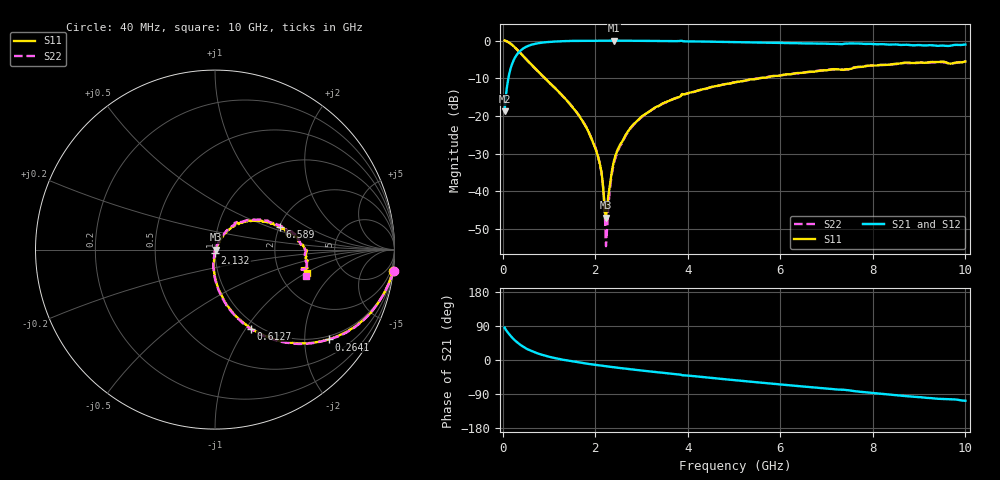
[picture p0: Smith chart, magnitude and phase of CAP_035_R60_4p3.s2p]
! Thu 10/27/2005 10:31:32 AM
! MODELITIHCS, INC.
# Hz S MA R 50
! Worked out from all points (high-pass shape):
!   401 points, 40 MHz to 10 GHz, reference 50 ohm
!   highest |S21| = -0.03 dB at 2.405 GHz (marker M1); lowest = -18.8 dB at 40 MHz (marker M2)
!   |S21| within 3 dB of the highest: 354.1 MHz to end of sweep
!   lowest |S11| = -47.0 dB at 2.231 GHz (marker M3), VSWR 1.01, Z = 50.4 - j0.0731 ohm
!   |S11| at or under -10 dB: 911.9 MHz to 5.547 GHz (4.635 GHz wide, 144 % of centre)
!   |S22| runs from -54.6 to 0.0 dB; largest |S21 - S12| = 0.0058
!   S11 on the Smith chart (normalised r, x): 40 MHz: 0, -17; 264.1 MHz: 0.90, -2.60; 612.7 MHz: 0.92, -1.06; 2.132 GHz: 1.00, -0.04; 6.589 GHz: 2.01, +0.60; 10 GHz: 2.81, -1.03
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4e7  0.9997 -6.8  0.1154 85.7  0.1145 85.9  1.002 -7.0
1.396e8  0.9369 -22.1  0.3597 68.0  0.3596 68.1  0.9357 -22.2
2.641e8  0.8074 -38.3  0.5937 51.5  0.5932 51.7  0.8069 -38.4
4.384e8  0.6267 -54.4  0.7812 35.4  0.7815 35.5  0.6273 -54.8
6.127e8  0.4834 -65.5  0.8772 24.1  0.8762 24.3  0.4832 -66.0
1.0111e9  0.274 -80.8  0.9591 8.3  0.9593 8.4  0.2746 -81.2
1.7083e9  0.08841 -94.6  0.9935 -7.6  0.9933 -7.5  0.08954 -96.0
2.0071e9  0.03644 -94.1  0.9957 -12.9  0.9958 -12.8  0.03719 -97.9
2.1316e9  0.01826 -88.0  0.9965 -14.9  0.9964 -14.8  0.01776 -99.1
2.2063e9  0.005431 -58.1  0.9964 -16.1  0.9969 -16.0  0.005094 -95.5
2.2312e9  0.004469 -9.3  0.9966 -16.5  0.9963 -16.4  0.001869 -42.8
2.281e9  0.00858 35.1  0.9961 -17.3  0.9961 -17.2  0.006212 48.7
2.3308e9  0.01404 50.1  0.9964 -18.0  0.9967 -17.9  0.0127 64.0
2.4055e9  0.02549 56.8  0.9969 -19.2  0.9969 -19.1  0.02393 65.8
2.5051e9  0.03806 60.3  0.9951 -20.8  0.9955 -20.7  0.03645 63.8
2.7541e9  0.06862 62.4  0.9933 -24.3  0.9937 -24.2  0.0669 64.7
3.3766e9  0.1358 55.0  0.9869 -32.8  0.9873 -32.7  0.1358 57.6
5.02e9  0.2799 35.1  0.9524 -53.2  0.9529 -53.1  0.2784 36.7
6.5887e9  0.3828 19.3  0.9158 -71.0  0.9165 -70.9  0.3815 20.6
6.6883e9  0.3852 19.0  0.9159 -71.9  0.9151 -71.9  0.387 19.9
8.3566e9  0.4784 3.2  0.8823 -91.3  0.8817 -91.2  0.4793 3.4
1e10  0.5277 -14.6  0.8843 -107.7  0.8849 -107.6  0.5284 -16.2
